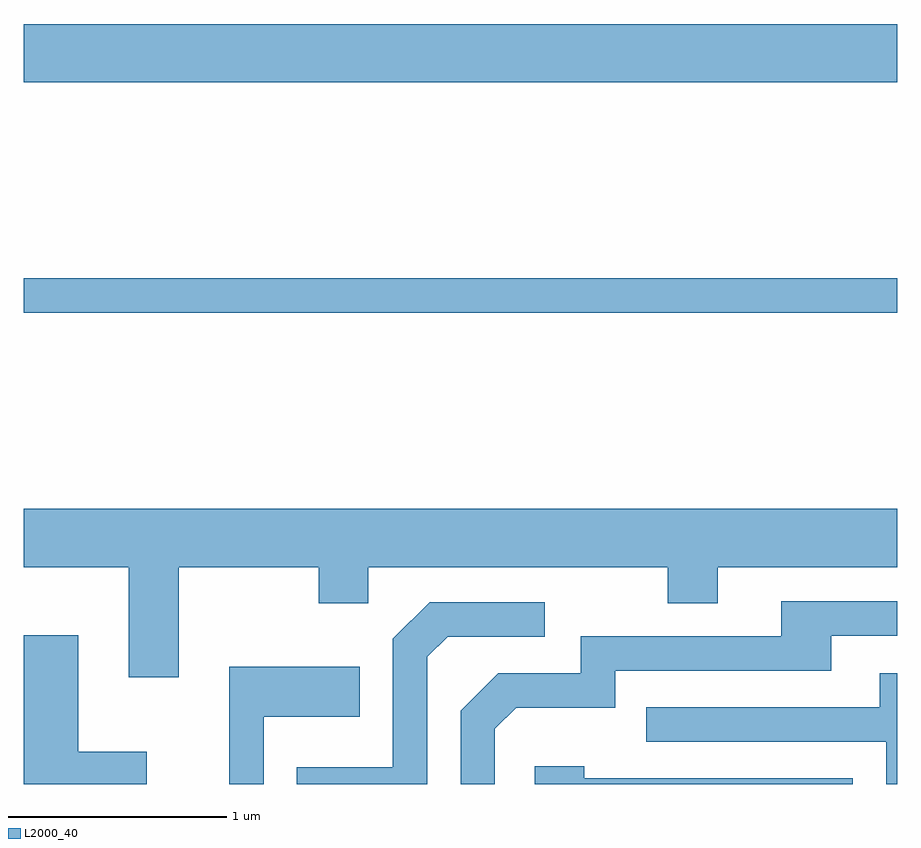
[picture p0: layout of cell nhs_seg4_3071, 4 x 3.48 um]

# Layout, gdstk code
import gdstk
lib = gdstk.Library(unit=1e-6, precision=1e-09)
def R(c, l, rs):  # rectangles x0, y0, x1, y1
    for r in rs: c.add(gdstk.rectangle(r[:2], r[2:], *l))
def P(c, l, *ps):  # polygons
    for p in ps: c.add(gdstk.Polygon(p, *l))
L2000_40 = (2000, 40)

nhs_seg4_3071 = lib.new_cell('nhs_seg4_3071')
R(nhs_seg4_3071, L2000_40, [(275.611,1278.141,279.611,1278.299), (275.611,1279.196,279.611,1279.464)])
P(nhs_seg4_3071, L2000_40, [(276.319,1276.976),(276.961,1276.976),(276.961,1276.811),(277.189,1276.811),(277.189,1276.976),(278.561,1276.976),(278.561,1276.811),(278.789,1276.811),(278.789,1276.976),(279.611,1276.976),(279.611,1277.244),(275.611,1277.244),(275.611,1276.976),(276.091,1276.976),(276.091,1276.471),(276.319,1276.471)],
  [(277.769,1276.234),(277.867,1276.331),(278.319,1276.331),(278.319,1276.501),(279.309,1276.501),(279.309,1276.661),(279.611,1276.661),(279.611,1276.819),(279.081,1276.819),(279.081,1276.659),(278.161,1276.659),(278.161,1276.489),(277.784,1276.489),(277.611,1276.317),(277.611,1275.982),(277.769,1275.982)],
  [(277.459,1276.564),(277.552,1276.656),(277.998,1276.656),(277.998,1276.814),(277.469,1276.814),(277.301,1276.647),(277.301,1276.059),(276.861,1276.059),(276.861,1275.982),(277.459,1275.982)],
  [(276.174,1276.129),(275.859,1276.129),(275.859,1276.664),(275.611,1276.664),(275.611,1275.982),(276.174,1275.982)],
  [(276.709,1276.291),(277.149,1276.291),(277.149,1276.519),(276.551,1276.519),(276.551,1275.982),(276.709,1275.982)],
  [(279.611,1276.489),(279.531,1276.489),(279.531,1276.334),(278.463,1276.334),(278.463,1276.176),(279.561,1276.176),(279.561,1275.982),(279.611,1275.982)],
  [(279.409,1276.009),(278.179,1276.009),(278.179,1276.064),(277.951,1276.064),(277.951,1275.982),(279.409,1275.982)])

lib.write_gds('nhs_seg4_3071.gds')
